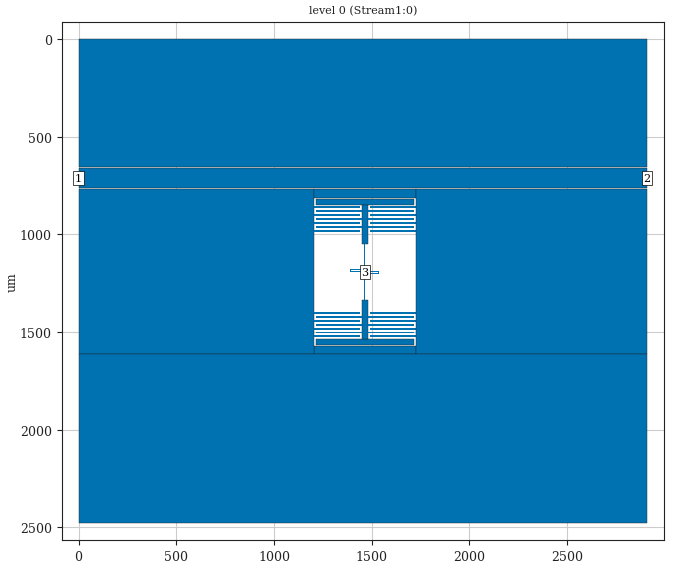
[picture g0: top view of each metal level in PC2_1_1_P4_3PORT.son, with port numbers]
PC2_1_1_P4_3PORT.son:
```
FTYP SONPROJ 19 ! Sonnet Project File
VER 18.56
HEADER
LIC infn2.1.84251
DAT 05/11/2026 09:56:05
BUILT_BY_CREATED gds 18.56 05/11/2026 09:41:03
BUILT_BY_SAVED sonnet 18.56
MDATE 05/11/2026 09:56:05
HDATE 05/11/2026 09:56:05
END HEADER
DIM
ANG DEG
CAP PF
CON /OH
FREQ GHZ
IND NH
LNG UM
RES OH
END DIM
CONTROL
VARSWP
OPTIONS  -d
SPEED 2
CACHE_ABS 2
Q_ACC N
END CONTROL
GEO
TMET "Lossless" 0 SUP 0 0 0 0
BMET "Lossless" 0 SUP 0 0 0 0
MET "TiN" 1 SUP 0 0 0 "Lk"
BOX 1 2910 2477.5 2328 1982 20 0
      1000 1 1 0 0 0 0 "Vacuum"
      500 11.9 1 0.004 0 0.00044 0 "Silicon (intrinsic)"
TECHLAY METAL Stream1:0 <UNSPECIFIED> 1 0 
0 0 0 N 56 1 1 100 100 0 0 0 Y
END
END
VALVAR Lk NONE 0 ""
DIM STD YDIR -1
POS 92.04878614 -0.1127935975
NOM 5
REF1 POLY 44 1
2
REF2 POLY 45 1
3
END
DIM STD YDIR -1
POS -41.59537087 0.08233563288
NOM 5
REF1 POLY 2 1
1
REF2 POLY 45 1
0
END
DIM STD YDIR -1
POS 78.06409273 -3.318129552
NOM 5
REF1 POLY 45 1
2
REF2 POLY 43 1
3
END
DIM STD YDIR 1
POS -38.18430507 8.480528103
NOM 5
REF1 POLY 43 1
0
REF2 POLY 45 1
1
END
LORGN 0 2477.5 U 
POR1 BOX
POLY 45 1
0
1 50 0 0 0 0 712.5 
POR1 BOX
POLY 45 1
2
2 50 0 0 0 2910 712.5 
POR1 GAP
POLY 69 1
3
3 50 0 0 0 1465 1192.5 
NUM 47
0 5 0 N 1 1 1 100 100 0 0 0 Y
TLAYNAM Stream1:0 INH
1205 1612.5
1205 1572.5
1725 1572.5
1725 1612.5
1205 1612.5
END
0 5 0 N 2 1 1 100 100 0 0 0 Y
TLAYNAM Stream1:0 INH
0 1612.5
0 767.5
1205 767.5
1205 1612.5
0 1612.5
END
0 5 0 N 3 1 1 100 100 0 0 0 Y
TLAYNAM Stream1:0 INH
1215 1567.5
1215 1537.5
1715 1537.5
1715 1567.5
1215 1567.5
END
0 5 0 N 4 1 1 100 100 0 0 0 Y
TLAYNAM Stream1:0 INH
1450 1537.5
1450 1337.5
1480 1337.5
1480 1537.5
1450 1537.5
END
0 5 0 N 5 1 1 100 100 0 0 0 Y
TLAYNAM Stream1:0 INH
1205 1527.5
1205 1517.5
1440 1517.5
1440 1527.5
1205 1527.5
END
0 5 0 N 6 1 1 100 100 0 0 0 Y
TLAYNAM Stream1:0 INH
1215 1507.5
1215 1497.5
1450 1497.5
1450 1507.5
1215 1507.5
END
0 5 0 N 7 1 1 100 100 0 0 0 Y
TLAYNAM Stream1:0 INH
1490 1527.5
1490 1517.5
1725 1517.5
1725 1527.5
1490 1527.5
END
0 5 0 N 8 1 1 100 100 0 0 0 Y
TLAYNAM Stream1:0 INH
1480 1507.5
1480 1497.5
1715 1497.5
1715 1507.5
1480 1507.5
END
0 5 0 N 9 1 1 100 100 0 0 0 Y
TLAYNAM Stream1:0 INH
1215 847.5
1215 817.5
1715 817.5
1715 847.5
1215 847.5
END
0 5 0 N 10 1 1 100 100 0 0 0 Y
TLAYNAM Stream1:0 INH
1450 1047.5
1450 847.5
1480 847.5
1480 1047.5
1450 1047.5
END
0 5 0 N 11 1 1 100 100 0 0 0 Y
TLAYNAM Stream1:0 INH
1205 867.5
1205 857.5
1440 857.5
1440 867.5
1205 867.5
END
0 5 0 N 12 1 1 100 100 0 0 0 Y
TLAYNAM Stream1:0 INH
1215 887.5
1215 877.5
1450 877.5
1450 887.5
1215 887.5
END
0 5 0 N 13 1 1 100 100 0 0 0 Y
TLAYNAM Stream1:0 INH
1480 887.5
1480 877.5
1715 877.5
1715 887.5
1480 887.5
END
0 5 0 N 14 1 1 100 100 0 0 0 Y
TLAYNAM Stream1:0 INH
1490 867.5
1490 857.5
1725 857.5
1725 867.5
1490 867.5
END
0 5 0 N 15 1 1 100 100 0 0 0 Y
TLAYNAM Stream1:0 INH
1490 1407.5
1490 1397.5
1725 1397.5
1725 1407.5
1490 1407.5
END
0 5 0 N 16 1 1 100 100 0 0 0 Y
TLAYNAM Stream1:0 INH
1205 1407.5
1205 1397.5
1440 1397.5
1440 1407.5
1205 1407.5
END
0 5 0 N 17 1 1 100 100 0 0 0 Y
TLAYNAM Stream1:0 INH
1480 1427.5
1480 1417.5
1715 1417.5
1715 1427.5
1480 1427.5
END
0 5 0 N 18 1 1 100 100 0 0 0 Y
TLAYNAM Stream1:0 INH
1215 1427.5
1215 1417.5
1450 1417.5
1450 1427.5
1215 1427.5
END
0 5 0 N 19 1 1 100 100 0 0 0 Y
TLAYNAM Stream1:0 INH
1490 1447.5
1490 1437.5
1725 1437.5
1725 1447.5
1490 1447.5
END
0 5 0 N 20 1 1 100 100 0 0 0 Y
TLAYNAM Stream1:0 INH
1205 1447.5
1205 1437.5
1440 1437.5
1440 1447.5
1205 1447.5
END
0 5 0 N 21 1 1 100 100 0 0 0 Y
TLAYNAM Stream1:0 INH
1480 1467.5
1480 1457.5
1715 1457.5
1715 1467.5
1480 1467.5
END
0 5 0 N 22 1 1 100 100 0 0 0 Y
TLAYNAM Stream1:0 INH
1215 1467.5
1215 1457.5
1450 1457.5
1450 1467.5
1215 1467.5
END
0 5 0 N 23 1 1 100 100 0 0 0 Y
TLAYNAM Stream1:0 INH
1490 1487.5
1490 1477.5
1725 1477.5
1725 1487.5
1490 1487.5
END
0 5 0 N 24 1 1 100 100 0 0 0 Y
TLAYNAM Stream1:0 INH
1205 1487.5
1205 1477.5
1440 1477.5
1440 1487.5
1205 1487.5
END
0 5 0 N 25 1 1 100 100 0 0 0 Y
TLAYNAM Stream1:0 INH
1490 987.5
1490 977.5
1725 977.5
1725 987.5
1490 987.5
END
0 5 0 N 26 1 1 100 100 0 0 0 Y
TLAYNAM Stream1:0 INH
1205 987.5
1205 977.5
1440 977.5
1440 987.5
1205 987.5
END
0 5 0 N 27 1 1 100 100 0 0 0 Y
TLAYNAM Stream1:0 INH
1480 967.5
1480 957.5
1715 957.5
1715 967.5
1480 967.5
END
0 5 0 N 28 1 1 100 100 0 0 0 Y
TLAYNAM Stream1:0 INH
1215 967.5
1215 957.5
1450 957.5
1450 967.5
1215 967.5
END
0 5 0 N 29 1 1 100 100 0 0 0 Y
TLAYNAM Stream1:0 INH
1490 947.5
1490 937.5
1725 937.5
1725 947.5
1490 947.5
END
0 5 0 N 30 1 1 100 100 0 0 0 Y
TLAYNAM Stream1:0 INH
1205 947.5
1205 937.5
1440 937.5
1440 947.5
1205 947.5
END
0 5 0 N 31 1 1 100 100 0 0 0 Y
TLAYNAM Stream1:0 INH
1480 927.5
1480 917.5
1715 917.5
1715 927.5
1480 927.5
END
0 5 0 N 32 1 1 100 100 0 0 0 Y
TLAYNAM Stream1:0 INH
1215 927.5
1215 917.5
1450 917.5
1450 927.5
1215 927.5
END
0 5 0 N 33 1 1 100 100 0 0 0 Y
TLAYNAM Stream1:0 INH
1490 907.5
1490 897.5
1725 897.5
1725 907.5
1490 907.5
END
0 5 0 N 34 1 1 100 100 0 0 0 Y
TLAYNAM Stream1:0 INH
1205 907.5
1205 897.5
1440 897.5
1440 907.5
1205 907.5
END
0 5 0 N 35 1 1 100 100 0 0 0 Y
TLAYNAM Stream1:0 INH
1205 812.5
1205 767.5
1725 767.5
1725 812.5
1205 812.5
END
0 5 0 N 37 1 1 100 100 0 0 0 Y
TLAYNAM Stream1:0 INH
1532.5 1200
1532.5 1195
1537.5 1195
1537.5 1200
1532.5 1200
END
0 5 0 N 38 1 1 100 100 0 0 0 Y
TLAYNAM Stream1:0 INH
1462.5 1205
1462.5 1200
1537.5 1200
1537.5 1205
1462.5 1205
END
0 5 0 N 39 1 1 100 100 0 0 0 Y
TLAYNAM Stream1:0 INH
1387.5 1190
1387.5 1185
1392.5 1185
1392.5 1190
1387.5 1190
END
0 5 0 N 40 1 1 100 100 0 0 0 Y
TLAYNAM Stream1:0 INH
1387.5 1185
1387.5 1180
1462.5 1180
1462.5 1185
1387.5 1185
END
0 5 0 N 41 1 1 100 100 0 0 0 Y
TLAYNAM Stream1:0 INH
1462.5 1337.5
1462.5 1205
1467.5 1205
1467.5 1337.5
1462.5 1337.5
END
0 5 0 N 42 1 1 100 100 0 0 0 Y
TLAYNAM Stream1:0 INH
1462.5 1185
1462.5 1047.5
1467.5 1047.5
1467.5 1185
1462.5 1185
END
0 5 0 N 43 1 1 100 100 0 0 0 Y
TLAYNAM Stream1:0 INH
0 657.5
0 0
2910 0
2910 657.5
0 657.5
END
0 5 0 N 44 1 1 100 100 0 0 0 Y
TLAYNAM Stream1:0 INH
1725 1612.5
1725 767.5
2910 767.5
2910 1612.5
1725 1612.5
END
0 5 0 N 45 1 1 100 100 0 0 0 Y
TLAYNAM Stream1:0 INH
0 762.5
0 662.5
2910 662.5
2910 762.5
0 762.5
END
0 5 0 N 46 1 1 100 100 0 0 0 Y
TLAYNAM Stream1:0 INH
0 2477.5
0 1612.5
2910 1612.5
2910 2477.5
0 2477.5
END
0 5 0 N 68 1 1 100 100 0 0 0 Y
TLAYNAM Stream1:0 INH
1537.5 1190
1465 1190
1465 1195
1537.5 1195
1537.5 1190
END
0 5 0 N 69 1 1 100 100 0 0 0 Y
TLAYNAM Stream1:0 INH
1465 1190
1387.5 1190
1387.5 1195
1465 1195
1465 1190
END
END GEO
OPT
MAX 1
END OPT
VARSWP
SWPVARS ON
ENABLED Y
FREQ Y AY ABS_ENTRY 2.0 20.0 -1 500 
VAR Lk Y 0.0 20.0 1.0
END
END VARSWP
```
